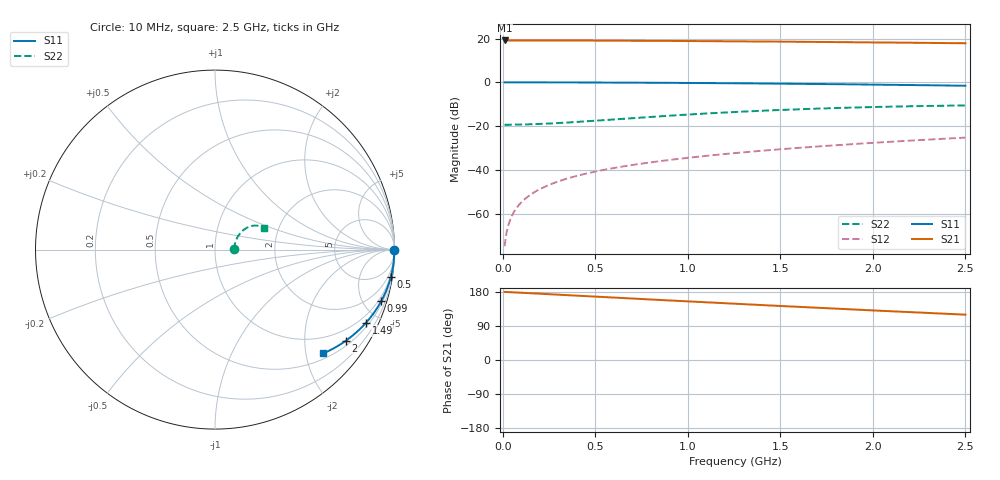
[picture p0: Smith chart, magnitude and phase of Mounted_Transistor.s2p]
! AWR Design Environment (10030) Sat Mar 20 22:50:41 2021
! Document = 'Mounted Transistor'
! nPorts: 2, nXvals: 250
[Version] 2.0
# GHz S DB R 50
[Number of Ports] 2
[Two-Port Data Order] 12_21
!Freq DBS11 AngS11 DBS12 AngS12 DBS21 AngS21 DBS22 AngS22
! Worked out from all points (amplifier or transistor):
!   250 points, 10 MHz to 2.5 GHz, reference 50 ohm
!   highest |S21| = 19.1 dB at 10 MHz (marker M1)
!   |S21| within 3 dB of that: start of sweep to end of sweep
!   unconditionally stable (mu >= 1): nowhere
!   at 420 MHz: K = 0.18, MSG = 30.7 dB, |S12| = -42.3 dB
!   at 1.26 GHz: K = 0.47, MSG = 25.5 dB, |S12| = -32.3 dB
!   at 2.5 GHz: K = 0.74, MSG = 21.6 dB, |S12| = -25.3 dB
!   lowest NFmin = 0.05 dB at 10 MHz
!   S11 on the Smith chart (normalised r, x): 10 MHz: open; 500 MHz: 1, -13; 990 MHz: 0.68, -6.53; 1.49 GHz: 0.66, -4.26; 2 GHz: 0.64, -3.07; 2.5 GHz: 0.61, -2.36
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[Number of Frequencies] 22
[Network Data]
0.01  -0.00 -0.2  -74.86 90.0  19.14 179.7  -19.39 0.7
0.02  -0.01 -0.3  -68.84 90.0  19.14 179.5  -19.38 1.3
0.03  -0.01 -0.5  -65.32 89.9  19.14 179.2  -19.38 1.9
0.04  -0.01 -0.7  -62.82 89.9  19.14 179.0  -19.37 2.6
0.07  -0.01 -1.2  -57.96 89.8  19.14 178.2  -19.34 4.5
0.11  -0.01 -1.9  -54.03 89.7  19.13 177.2  -19.27 7.0
0.16  -0.01 -2.8  -50.77 89.6  19.13 175.9  -19.14 10.0
0.23  -0.02 -4.0  -47.60 89.5  19.12 174.1  -18.90 14.0
0.32  -0.03 -5.6  -44.71 89.2  19.11 171.8  -18.51 18.6
0.43  -0.06 -7.5  -42.12 88.9  19.09 169.0  -17.93 23.3
0.5  -0.07 -8.7  -40.78 88.7  19.07 167.2  -17.53 25.8
0.67  -0.13 -11.7  -38.16 88.2  19.02 162.9  -16.53 30.3
0.84  -0.20 -14.6  -36.10 87.6  18.96 158.7  -15.56 33.0
0.99  -0.27 -17.2  -34.58 87.0  18.89 154.9  -14.77 34.2
1.26  -0.43 -21.9  -32.28 85.7  18.75 148.3  -13.52 34.5
1.49  -0.59 -25.9  -30.64 84.3  18.61 142.8  -12.66 33.6
1.67  -0.73 -29.0  -29.49 83.1  18.49 138.5  -12.09 32.3
1.83  -0.87 -31.8  -28.56 81.9  18.38 134.8  -11.66 30.9
2  -1.02 -34.8  -27.63 80.6  18.25 130.9  -11.29 29.2
2.09  -1.11 -36.4  -27.17 79.8  18.19 128.8  -11.11 28.3
2.29  -1.32 -39.9  -26.20 78.1  18.03 124.3  -10.80 26.1
2.5  -1.55 -43.7  -25.25 76.1  17.86 119.6  -10.56 23.7
[Noise Data]
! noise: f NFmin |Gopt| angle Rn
0.01  0.05315  0.9083  0.07447  6.364
0.28  0.0545  0.9061  2.082  6.368
0.56  0.0581  0.8999  4.164  6.34
0.84  0.06359  0.8902  6.253  6.285
1.11  0.07028  0.8782  8.279  6.209
1.39  0.07828  0.8636  10.4  6.107
1.67  0.08706  0.847  12.54  5.982
1.94  0.09606  0.8295  14.63  5.841
2.22  0.1058  0.8098  16.83  5.677
2.5  0.1158  0.7887  19.06  5.494
[End]
